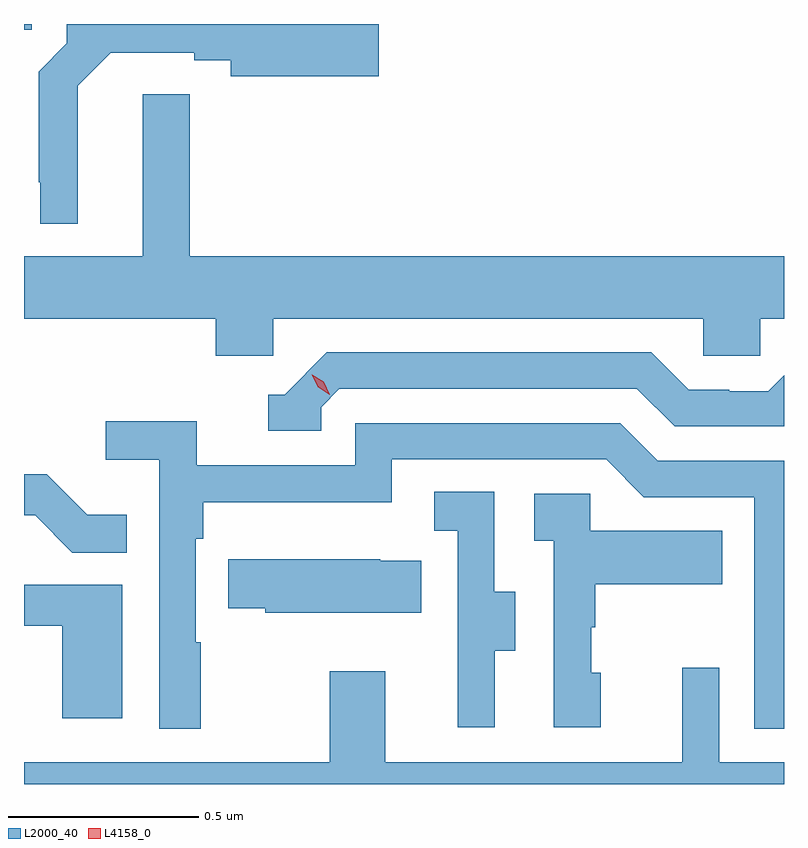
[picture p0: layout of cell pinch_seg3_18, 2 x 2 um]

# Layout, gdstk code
import gdstk
lib = gdstk.Library(unit=1e-6, precision=1e-09)
def R(c, l, rs):  # rectangles x0, y0, x1, y1
    for r in rs: c.add(gdstk.rectangle(r[:2], r[2:], *l))
def P(c, l, *ps):  # polygons
    for p in ps: c.add(gdstk.Polygon(p, *l))
L2000_40 = (2000, 40)
L4158_0 = (4158, 0)

pinch_seg3_18 = lib.new_cell('pinch_seg3_18')
R(pinch_seg3_18, L2000_40, [(1130.278,733.644,1130.299,733.659)])
P(pinch_seg3_18, L2000_40, [(1130.419,733.496),(1130.506,733.584),(1130.726,733.584),(1130.726,733.564),(1130.822,733.564),(1130.822,733.522),(1131.211,733.522),(1131.211,733.659),(1130.391,733.659),(1130.391,733.608),(1130.317,733.534),(1130.317,733.243),(1130.321,733.243),(1130.321,733.133),(1130.419,733.133)],
  [(1130.934,732.884),(1132.065,732.884),(1132.065,732.786),(1132.215,732.786),(1132.215,732.884),(1132.278,732.884),(1132.278,733.048),(1130.714,733.048),(1130.714,733.474),(1130.591,733.474),(1130.591,733.048),(1130.278,733.048),(1130.278,732.884),(1130.783,732.884),(1130.783,732.786),(1130.934,732.786)],
  [(1131.06,732.651),(1131.108,732.699),(1131.891,732.699),(1131.99,732.6),(1132.278,732.6),(1132.278,732.735),(1132.237,732.693),(1132.134,732.693),(1132.134,732.696),(1132.027,732.696),(1131.928,732.795),(1131.075,732.795),(1130.964,732.684),(1130.921,732.684),(1130.921,732.588),(1131.06,732.588)],
  [(1130.743,732.032),(1130.73,732.032),(1130.73,732.305),(1130.75,732.305),(1130.75,732.401),(1131.246,732.401),(1131.246,732.513),(1131.81,732.513),(1131.909,732.414),(1132.2,732.414),(1132.2,731.805),(1132.278,731.805),(1132.278,732.51),(1131.946,732.51),(1131.847,732.609),(1131.15,732.609),(1131.15,732.498),(1130.732,732.498),(1130.732,732.614),(1130.493,732.614),(1130.493,732.512),(1130.634,732.512),(1130.634,731.805),(1130.743,731.805)],
  [(1130.549,732.367),(1130.445,732.367),(1130.338,732.474),(1130.278,732.474),(1130.278,732.366),(1130.307,732.366),(1130.405,732.268),(1130.549,732.268)],
  [(1131.517,732.01),(1131.571,732.01),(1131.571,732.165),(1131.516,732.165),(1131.516,732.428),(1131.357,732.428),(1131.357,732.325),(1131.42,732.325),(1131.42,732.021),(1131.419,732.021),(1131.419,731.808),(1131.517,731.808)],
  [(1131.796,731.952),(1131.771,731.952),(1131.771,732.071),(1131.781,732.071),(1131.781,732.185),(1132.115,732.185),(1132.115,732.325),(1131.768,732.325),(1131.768,732.423),(1131.621,732.423),(1131.621,732.299),(1131.672,732.299),(1131.672,731.808),(1131.796,731.808)],
  [(1131.323,732.247),(1131.215,732.247),(1131.215,732.25),(1130.815,732.25),(1130.815,732.121),(1130.913,732.121),(1130.913,732.11),(1131.323,732.11)],
  [(1130.536,732.183),(1130.278,732.183),(1130.278,732.087),(1130.279,732.087),(1130.279,732.075),(1130.378,732.075),(1130.378,731.832),(1130.536,731.832)],
  [(1132.278,731.716),(1132.107,731.716),(1132.107,731.965),(1132.01,731.965),(1132.01,731.716),(1131.229,731.716),(1131.229,731.956),(1131.082,731.956),(1131.082,731.716),(1130.278,731.716),(1130.278,731.659),(1132.278,731.659)])
P(pinch_seg3_18, L4158_0, [(1131.083,732.684),(1131.052,732.703),(1131.035,732.736),(1131.035,732.736),(1131.036,732.736),(1131.067,732.717),(1131.083,732.684),(1131.083,732.684)])

lib.write_gds('pinch_seg3_18.gds')
